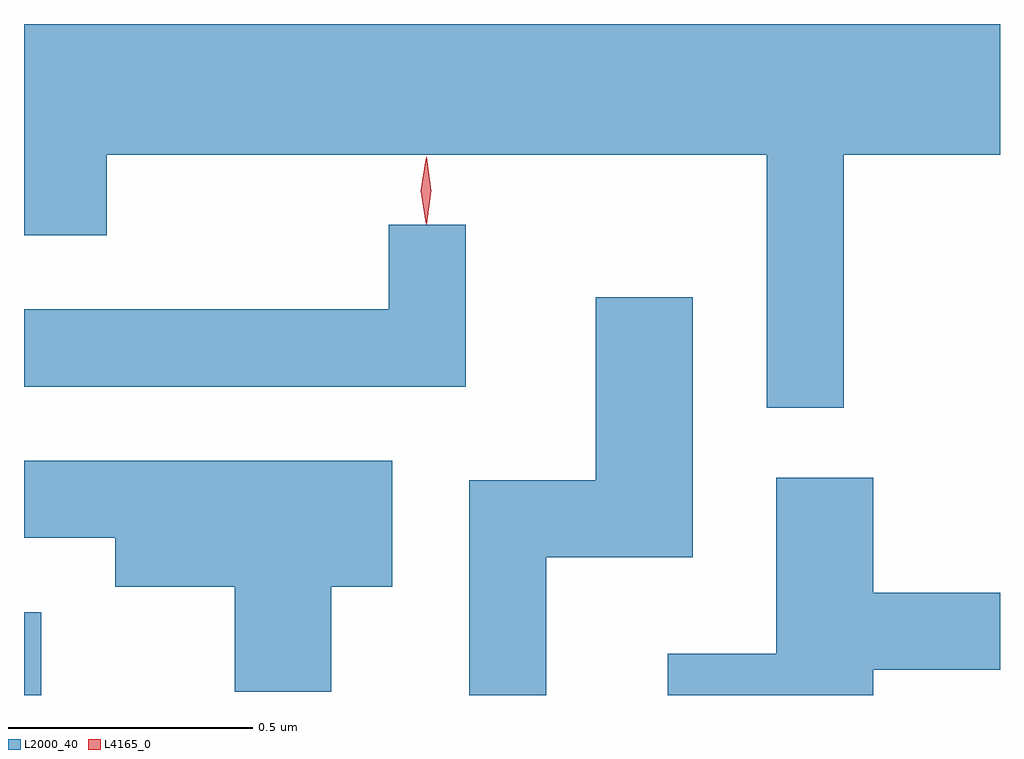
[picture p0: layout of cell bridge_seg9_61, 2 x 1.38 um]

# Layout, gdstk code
import gdstk
lib = gdstk.Library(unit=1e-6, precision=1e-09)
def R(c, l, rs):  # rectangles x0, y0, x1, y1
    for r in rs: c.add(gdstk.rectangle(r[:2], r[2:], *l))
def P(c, l, *ps):  # polygons
    for p in ps: c.add(gdstk.Polygon(p, *l))
L2000_40 = (2000, 40)
L4165_0 = (4165, 0)

bridge_seg9_61 = lib.new_cell('bridge_seg9_61')
R(bridge_seg9_61, L2000_40, [(1626.044,1988.489,1626.079,1988.659)])
P(bridge_seg9_61, L2000_40, [(1627.724,1989.596),(1628.044,1989.596),(1628.044,1989.864),(1626.044,1989.864),(1626.044,1989.431),(1626.214,1989.431),(1626.214,1989.596),(1627.566,1989.596),(1627.566,1989.078),(1627.724,1989.078)],
  [(1626.949,1989.453),(1626.791,1989.453),(1626.791,1989.279),(1626.044,1989.279),(1626.044,1989.121),(1626.949,1989.121)],
  [(1627.114,1988.771),(1627.414,1988.771),(1627.414,1989.304),(1627.216,1989.304),(1627.216,1988.929),(1626.956,1988.929),(1626.956,1988.489),(1627.114,1988.489)],
  [(1626.674,1988.711),(1626.799,1988.711),(1626.799,1988.969),(1626.044,1988.969),(1626.044,1988.811),(1626.231,1988.811),(1626.231,1988.711),(1626.476,1988.711),(1626.476,1988.496),(1626.674,1988.496)],
  [(1627.784,1988.541),(1628.044,1988.541),(1628.044,1988.699),(1627.784,1988.699),(1627.784,1988.934),(1627.586,1988.934),(1627.586,1988.574),(1627.363,1988.574),(1627.363,1988.489),(1627.784,1988.489)])
P(bridge_seg9_61, L4165_0, [(1626.869,1989.453),(1626.868,1989.454),(1626.859,1989.522),(1626.868,1989.591),(1626.869,1989.592),(1626.869,1989.591),(1626.879,1989.522),(1626.869,1989.454)],
  [(1626.867,1989.457),(1626.867,1989.457),(1626.857,1989.522),(1626.867,1989.587),(1626.867,1989.587),(1626.868,1989.587),(1626.877,1989.522),(1626.868,1989.457)])

lib.write_gds('bridge_seg9_61.gds')
